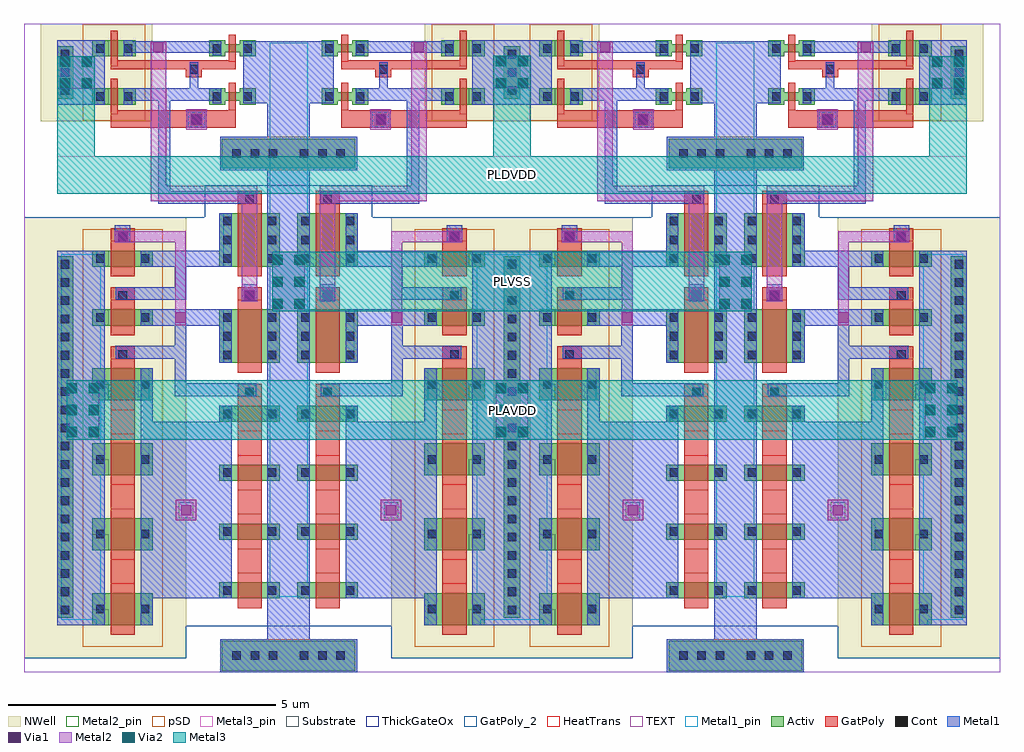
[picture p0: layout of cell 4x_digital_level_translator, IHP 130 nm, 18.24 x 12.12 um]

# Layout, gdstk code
from math import pi, radians
import gdstk
lib = gdstk.Library(unit=1e-6, precision=5e-09)
def R(c, l, rs):  # rectangles x0, y0, x1, y1
    for r in rs: c.add(gdstk.rectangle(r[:2], r[2:], *l))
def A(c, l, x, y, w, h, nx, ny, dx, dy):  # array of equal rectangles
    R(c, l, [(x+i*dx, y+j*dy, x+i*dx+w, y+j*dy+h) for i in range(nx) for j in range(ny)])
Activ = (1, 0)
GatPoly = (5, 0)
GatPoly_2 = (5, 2)
Cont = (6, 0)
Metal1 = (8, 0)
Metal1_pin = (8, 2)
Metal2 = (10, 0)
Metal2_pin = (10, 2)
pSD = (14, 0)
Via1 = (19, 0)
Via2 = (29, 0)
Metal3 = (30, 0)
Metal3_pin = (30, 2)
NWell = (31, 0)
Substrate = (40, 0)
ThickGateOx = (44, 0)
HeatTrans = (51, 0)
TEXT = (63, 0)

via_stack = lib.new_cell('via_stack')
R(via_stack, Activ, [(-0.49,-0.15,0.49,0.15)])
A(via_stack, Cont, -0.42, -0.08, 0.16, 0.16, 3, 1, 0.34, 0)
R(via_stack, Metal1, [(-0.47,-0.08,0.47,0.08)])

nmoshv_1 = lib.new_cell('nmosHV$1')
R(nmoshv_1, Activ, [(0,0,0.3,0.3), (0,0,1.13,1), (0.83,0,1.13,0.3)])
R(nmoshv_1, GatPoly, [(0.34,-0.18,0.79,1.18)])
R(nmoshv_1, GatPoly_2, [(0.34,-0.18,0.79,1.18)])
A(nmoshv_1, Cont, 0.07, 0.07, 0.16, 0.16, 1, 3, 0, 0.35)
A(nmoshv_1, Cont, 0.9, 0.07, 0.16, 0.16, 1, 3, 0, 0.35)
R(nmoshv_1, Metal1, [(0.07,0,0.23,1), (0.9,0,1.06,1)])
R(nmoshv_1, Metal1_pin, [(0.07,0,0.23,1), (0.9,0,1.06,1)])
R(nmoshv_1, ThickGateOx, [(-0.27,-0.52,1.4,1.52)])
R(nmoshv_1, HeatTrans, [(0.34,-0.18,0.79,1.18)])
nmoshv_1.add(gdstk.Label('nmosHV', (0.565,0.5), layer=63, texttype=0))
nmoshv_1.add(gdstk.Label('nmosHV', (0.565,0.5), layer=51, texttype=0))

via_stack_3 = lib.new_cell('via_stack$3')
R(via_stack_3, GatPoly, [(-0.15,-0.15,0.15,0.15)])
R(via_stack_3, Cont, [(-0.08,-0.08,0.08,0.08)])
R(via_stack_3, Metal1, [(-0.145,-0.105,0.145,0.105)])
R(via_stack_3, Metal2, [(-0.145,-0.1,0.145,0.1)])
R(via_stack_3, Via1, [(-0.095,-0.095,0.095,0.095)])

pmoshv_1 = lib.new_cell('pmosHV$1')
R(pmoshv_1, Activ, [(0,0,0.3,0.3), (0,0,1.13,0.3), (0.83,0,1.13,0.3)])
R(pmoshv_1, GatPoly, [(0.34,-0.18,0.79,0.48)])
R(pmoshv_1, GatPoly_2, [(0.34,-0.18,0.79,0.48)])
R(pmoshv_1, Cont, [(0.07,0.07,0.23,0.23), (0.9,0.07,1.06,0.23)])
R(pmoshv_1, Metal1, [(0.07,0,0.23,0.3), (0.9,0,1.06,0.3)])
R(pmoshv_1, Metal1_pin, [(0.07,0,0.23,0.3), (0.9,0,1.06,0.3)])
R(pmoshv_1, pSD, [(-0.18,-0.4,1.31,0.7)])
R(pmoshv_1, NWell, [(-0.62,-0.62,1.75,0.92)])
R(pmoshv_1, Substrate, [(0.83,0,1.13,0.3)])
R(pmoshv_1, ThickGateOx, [(-0.62,-0.62,1.75,0.92)])
R(pmoshv_1, HeatTrans, [(0.34,-0.18,0.79,0.48)])
pmoshv_1.add(gdstk.Label('pmosHV', (0.565,0.15), layer=63, texttype=0))
pmoshv_1.add(gdstk.Label('pmos', (0.565,0.15), layer=51, texttype=0))

via_stack_5 = lib.new_cell('via_stack$5')
R(via_stack_5, Activ, [(-3.38,-0.15,3.38,0.15)])
A(via_stack_5, Cont, -3.31, -0.08, 0.16, 0.16, 20, 1, 0.34, 0)
R(via_stack_5, Metal1, [(-3.36,-0.08,3.36,0.08)])

pmoshv = lib.new_cell('pmosHV')
R(pmoshv, Activ, [(0,0,0.3,0.3), (0,0,1.13,0.6), (0.83,0,1.13,0.3)])
R(pmoshv, GatPoly, [(0.34,-0.18,0.79,0.78)])
R(pmoshv, GatPoly_2, [(0.34,-0.18,0.79,0.78)])
R(pmoshv, Cont, [(0.07,0.22,0.23,0.38), (0.9,0.22,1.06,0.38)])
R(pmoshv, Metal1, [(0.07,0,0.23,0.6), (0.9,0,1.06,0.6)])
R(pmoshv, Metal1_pin, [(0.07,0,0.23,0.6), (0.9,0,1.06,0.6)])
R(pmoshv, pSD, [(-0.18,-0.4,1.31,1)])
R(pmoshv, NWell, [(-0.62,-0.62,1.75,1.22)])
R(pmoshv, Substrate, [(0.83,0,1.13,0.3)])
R(pmoshv, ThickGateOx, [(-0.62,-0.62,1.75,1.22)])
R(pmoshv, HeatTrans, [(0.34,-0.18,0.79,0.78)])
pmoshv.add(gdstk.Label('pmosHV', (0.565,0.3), layer=63, texttype=0))
pmoshv.add(gdstk.Label('pmos', (0.565,0.3), layer=51, texttype=0))

nmoshv = lib.new_cell('nmosHV')
R(nmoshv, Activ, [(0,0,0.3,0.3), (0,0,1.13,0.3), (0.83,0,1.13,0.3)])
R(nmoshv, GatPoly, [(0.34,-0.18,0.79,0.48)])
R(nmoshv, GatPoly_2, [(0.34,-0.18,0.79,0.48)])
R(nmoshv, Cont, [(0.07,0.07,0.23,0.23), (0.9,0.07,1.06,0.23)])
R(nmoshv, Metal1, [(0.07,0,0.23,0.3), (0.9,0,1.06,0.3)])
R(nmoshv, Metal1_pin, [(0.07,0,0.23,0.3), (0.9,0,1.06,0.3)])
R(nmoshv, ThickGateOx, [(-0.27,-0.52,1.4,0.82)])
R(nmoshv, HeatTrans, [(0.34,-0.18,0.79,0.48)])
nmoshv.add(gdstk.Label('nmosHV', (0.565,0.15), layer=63, texttype=0))
nmoshv.add(gdstk.Label('nmosHV', (0.565,0.15), layer=51, texttype=0))

via_stack_1 = lib.new_cell('via_stack$1')
R(via_stack_1, Metal1, [(-0.145,-0.105,0.145,0.105)])
R(via_stack_1, Metal2, [(-0.145,-0.1,0.145,0.1)])
R(via_stack_1, Via1, [(-0.095,-0.095,0.095,0.095)])

via_stack_4 = lib.new_cell('via_stack$4')
R(via_stack_4, GatPoly, [(-0.15,-0.15,0.15,0.15)])
R(via_stack_4, Cont, [(-0.08,-0.08,0.08,0.08)])
R(via_stack_4, Metal1, [(-0.13,-0.08,0.13,0.08)])

nmos = lib.new_cell('nmos')
R(nmos, Activ, [(0,0,0.3,0.3), (0.57,0,0.87,0.3), (0,0.075,0.87,0.225)])
R(nmos, GatPoly, [(0.37,-0.105,0.5,0.405)])
R(nmos, GatPoly_2, [(0.37,-0.105,0.5,0.405)])
R(nmos, Cont, [(0.07,0.07,0.23,0.23), (0.64,0.07,0.8,0.23)])
R(nmos, Metal1, [(0.07,0.02,0.23,0.28), (0.64,0.02,0.8,0.28)])
R(nmos, Metal1_pin, [(0.07,0.02,0.23,0.28), (0.64,0.02,0.8,0.28)])
R(nmos, HeatTrans, [(0.37,-0.105,0.5,0.405)])
nmos.add(gdstk.Label('nmos', (0.435,0.15), layer=63, texttype=0))
nmos.add(gdstk.Label('nmos', (0.435,0.15), layer=51, texttype=0))

pmos_1 = lib.new_cell('pmos$1')
R(pmos_1, Activ, [(0,0,0.3,0.3), (0,0,0.81,0.3), (0.51,0,0.81,0.3)])
R(pmos_1, GatPoly, [(0.34,-0.18,0.47,0.48), (0.34,-0.18,0.47,0.48)])
R(pmos_1, Cont, [(0.07,0.07,0.23,0.23), (0.58,0.07,0.74,0.23)])
R(pmos_1, Metal1, [(0.07,0,0.23,0.3), (0.07,0,0.23,0.3), (0.58,0,0.74,0.3), (0.58,0,0.74,0.3)])
R(pmos_1, pSD, [(-0.18,-0.3,0.99,0.6)])
R(pmos_1, NWell, [(-0.31,-0.31,1.12,0.61)])
R(pmos_1, Substrate, [(0.51,0,0.81,0.3)])
R(pmos_1, HeatTrans, [(0.34,-0.18,0.47,0.48)])
pmos_1.add(gdstk.Label('pmos', (0.405,0.15), layer=63, texttype=0))
pmos_1.add(gdstk.Label('pmos', (0.405,0.15), layer=51, texttype=0))

digital_level_translator = lib.new_cell('digital_level_translator')
R(digital_level_translator, Activ, [(4.03,0.825,4.59,2.065), (13.415,0.825,13.975,2.065)])
A(digital_level_translator, GatPoly, 5.01, 1.32, 0.235, 0.45, 3, 1, 1.8, 0)
A(digital_level_translator, GatPoly, 9.505, 1.32, 0.44, 0.45, 3, 1, 1.1, 0)
A(digital_level_translator, GatPoly, 5.71, 3.69, 0.235, 0.45, 3, 1, 1.1, 0)
A(digital_level_translator, GatPoly, 9.105, 3.69, 0.44, 0.45, 3, 1, 1.4, 0)
R(digital_level_translator, GatPoly, [(2.565,1.8,2.735,4.14), (3.5,1.8,3.825,4.14)])
A(digital_level_translator, Metal1, 9.025, 1.88, 1.4, 0.23, 3, 1, 1.1, 0)
R(digital_level_translator, Metal1, [(2.215,0.71,14.005,1.21), (2.215,0.79,3.375,1.66), (4,1.21,4.62,2.095), (13.385,1.21,14.005,2.095), (6.75,1.4,7.07,1.69), (5.015,1.415,5.245,3.025), (8.6,1.415,8.845,2.73), (5.425,1.88,6.425,2.11), (7.225,1.88,8.225,2.11), (6.125,2.04,6.425,3.42), (7.225,2.04,7.525,3.42), (2.215,2.07,2.425,3.9), (3.095,2.07,3.325,3.9), (9.325,2.11,12.625,3.35), (3.53,2.37,3.82,2.7), (2.865,2.505,3.095,2.665), (6.425,2.73,6.805,2.945), (6.805,2.73,7.045,4.045), (7.525,2.73,7.905,2.945), (7.905,2.73,8.145,4.045), (7.905,2.73,8.845,2.945), (3.325,3.025,5.245,3.255), (8.325,3.35,10.325,3.58), (10.325,3.35,13.125,3.58), (5.65,3.77,5.97,4.06), (2.195,4.25,3.395,5.14), (6.125,4.25,13.125,5.14)])
R(digital_level_translator, Metal1_pin, [(2.24,0.815,12.59,1.17), (2.195,4.25,3.395,5.14), (6.195,4.33,13.025,5.06)])
R(digital_level_translator, Metal2, [(3.485,2.345,3.865,2.725), (10.785,2.54,11.165,2.92)])
R(digital_level_translator, Metal2_pin, [(3.56,2.43,3.79,2.64), (10.83,2.6,11.125,2.865)])
R(digital_level_translator, pSD, [(4,0.795,4.62,2.095), (13.385,0.795,14.005,2.095)])
R(digital_level_translator, NWell, [(1.885,4.79,3.705,5.45), (5.505,5.1,13.745,5.76)])
R(digital_level_translator, ThickGateOx, [(5.505,2.38,10.945,2.73), (10.945,2.38,13.145,2.73), (5.505,5.1,13.745,5.76)])
R(digital_level_translator, TEXT, [(1.885,0.71,14.005,5.76)])
digital_level_translator.add(gdstk.FlexPath([(7.23,2.835),(5.865,2.835),(5.865,3.77)], 0.2, ends="flush", simple_path=True, layer=10, datatype=0))  # Metal2
digital_level_translator.add(gdstk.FlexPath([(2.42,3.25),(5.06,3.25),(5.06,2.13)], 0.29, ends="flush", simple_path=True, layer=10, datatype=0))  # Metal2
digital_level_translator.add(gdstk.FlexPath([(6.865,1.545),(5.06,1.545),(5.06,2.13)], 0.29, ends="flush", simple_path=True, layer=10, datatype=0))  # Metal2
digital_level_translator.add(gdstk.Reference(via_stack, (2.795,4.99), rotation=pi))
digital_level_translator.add(gdstk.Reference(nmoshv_1, (6.425,0.98), rotation=pi/2))
digital_level_translator.add(gdstk.Reference(via_stack_3, (6.965,1.545), rotation=pi/2))
digital_level_translator.add(gdstk.Reference(pmoshv_1, (6.425,3.35), rotation=pi/2))
digital_level_translator.add(gdstk.Reference(via_stack_3, (3.675,2.535), rotation=pi))
digital_level_translator.add(gdstk.Reference(nmoshv_1, (8.225,0.98), rotation=pi/2))
digital_level_translator.add(gdstk.Reference(pmoshv_1, (7.525,3.35), rotation=pi/2))
digital_level_translator.add(gdstk.Reference(via_stack_5, (9.61,4.99), rotation=pi))
digital_level_translator.add(gdstk.Reference(pmoshv, (8.925,3.35), rotation=pi/2))
digital_level_translator.add(gdstk.Reference(pmoshv, (10.325,3.35), rotation=pi/2))
digital_level_translator.add(gdstk.Reference(nmoshv, (9.325,0.98), rotation=pi/2))
digital_level_translator.add(gdstk.Reference(nmoshv, (10.425,0.98), rotation=pi/2))
digital_level_translator.add(gdstk.Reference(via_stack_1, (10.975,2.73), rotation=pi))
digital_level_translator.add(gdstk.Reference(via_stack_4, (8.065,3.915), rotation=pi/2))
digital_level_translator.add(gdstk.Reference(via_stack_4, (6.965,3.915), rotation=pi/2))
digital_level_translator.add(gdstk.Reference(via_stack_3, (5.865,3.915), rotation=pi/2))
digital_level_translator.add(gdstk.Reference(via_stack_1, (7.375,2.835), rotation=pi))
digital_level_translator.add(gdstk.Reference(via_stack_4, (2.735,2.585), rotation=pi))
digital_level_translator.add(gdstk.Reference(via_stack_4, (8.765,1.545), rotation=pi/2))
digital_level_translator.add(gdstk.Reference(via_stack_4, (5.165,1.545), rotation=pi/2))
digital_level_translator.add(gdstk.Reference(via_stack_1, (2.32,3.25), rotation=pi/2))
digital_level_translator.add(gdstk.Reference(nmos, (2.495,1.43), rotation=pi/2))
digital_level_translator.add(gdstk.Reference(pmos_1, (2.495,3.67), rotation=pi/2))
digital_level_translator.add(gdstk.Reference(pmos_1, (3.395,3.67), rotation=pi/2))
digital_level_translator.add(gdstk.Reference(nmos, (3.395,1.43), rotation=pi/2))
digital_level_translator.add(gdstk.Reference(nmoshv, (12.625,0.98), rotation=pi/2))
digital_level_translator.add(gdstk.Reference(nmoshv, (11.525,0.98), rotation=pi/2))
digital_level_translator.add(gdstk.Reference(pmoshv, (13.125,3.35), rotation=pi/2))
digital_level_translator.add(gdstk.Reference(pmoshv, (11.725,3.35), rotation=pi/2))
digital_level_translator.add(gdstk.Reference(via_stack, (4.31,1.445), rotation=pi/2))
digital_level_translator.add(gdstk.Reference(via_stack, (13.695,1.445), rotation=pi/2))
digital_level_translator.add(gdstk.Label('LOUT', (10.975,2.73), layer=10, texttype=25))
digital_level_translator.add(gdstk.Label('LIN', (3.67,2.525), layer=10, texttype=25))
digital_level_translator.add(gdstk.Label('PLAVDD', (9.29,4.695), layer=8, texttype=25))
digital_level_translator.add(gdstk.Label('PLVSS', (7.2,0.98), layer=8, texttype=25))
digital_level_translator.add(gdstk.Label('PLDVDD', (2.795,4.84), layer=8, texttype=25))

via_stack_7 = lib.new_cell('via_stack$7')
R(via_stack_7, Metal1, [(-0.35,-0.31,0.35,0.31)])
R(via_stack_7, Metal2, [(-0.35,-0.305,0.35,0.305)])
R(via_stack_7, Via1, [(-0.3,-0.3,-0.11,-0.11), (0.11,-0.3,0.3,-0.11), (-0.3,0.11,-0.11,0.3), (0.11,0.11,0.3,0.3)])
R(via_stack_7, Via2, [(-0.3,-0.3,-0.11,-0.11), (0.11,-0.3,0.3,-0.11), (-0.3,0.11,-0.11,0.3), (0.11,0.11,0.3,0.3)])
R(via_stack_7, Metal3, [(-0.35,-0.305,0.35,0.305)])

via_stack_6 = lib.new_cell('via_stack$6')
R(via_stack_6, Metal1, [(-0.31,-0.555,0.31,0.555)])
R(via_stack_6, Metal2, [(-0.305,-0.555,0.305,0.555)])
A(via_stack_6, Via1, -0.3, -0.505, 0.19, 0.19, 1, 3, 0, 0.41)
A(via_stack_6, Via1, 0.11, -0.505, 0.19, 0.19, 1, 3, 0, 0.41)
A(via_stack_6, Via2, -0.3, -0.505, 0.19, 0.19, 1, 3, 0, 0.41)
A(via_stack_6, Via2, 0.11, -0.505, 0.19, 0.19, 1, 3, 0, 0.41)
R(via_stack_6, Metal3, [(-0.305,-0.555,0.305,0.555)])

c_4x_digital_level_transla = lib.new_cell('4x_digital_level_translator')
R(c_4x_digital_level_transla, Activ, [(4.935,0.03,4.955,0.59), (13.285,0.03,13.305,0.59), (4.935,9.415,4.955,9.975), (13.285,9.415,13.305,9.975)])
R(c_4x_digital_level_transla, Metal3, [(0.795,4.345,17.445,5.455), (4.64,6.745,13.6,7.855)])
R(c_4x_digital_level_transla, Metal3_pin, [(0.795,4.345,17.445,5.455), (4.64,6.745,13.6,7.855), (0.62,8.945,17.62,9.645)])
c_4x_digital_level_transla.add(gdstk.FlexPath([(0.97,10.905),(0.97,9.295),(17.27,9.295),(17.27,10.905)], 0.7, ends="flush", simple_path=True, layer=30, datatype=0))  # Metal3
c_4x_digital_level_transla.add(gdstk.FlexPath([(9.12,10.91),(9.12,9.295)], 0.7, ends="flush", simple_path=True, layer=30, datatype=0))  # Metal3
c_4x_digital_level_transla.add(gdstk.Reference(digital_level_translator, (12.48,14.005), rotation=3*pi/2))
c_4x_digital_level_transla.add(gdstk.Reference(digital_level_translator, (14.11,14.005), rotation=3*pi/2, x_reflection=True))
c_4x_digital_level_transla.add(gdstk.Reference(digital_level_translator, (4.13,14.005), rotation=3*pi/2))
c_4x_digital_level_transla.add(gdstk.Reference(digital_level_translator, (5.76,14.005), rotation=3*pi/2, x_reflection=True))
c_4x_digital_level_transla.add(gdstk.Reference(via_stack_7, (17.27,11.21), rotation=pi))
c_4x_digital_level_transla.add(gdstk.Reference(via_stack_7, (9.12,11.215), rotation=pi))
c_4x_digital_level_transla.add(gdstk.Reference(via_stack_7, (0.97,11.21), rotation=pi))
c_4x_digital_level_transla.add(gdstk.Reference(via_stack_6, (4.945,7.3)))
c_4x_digital_level_transla.add(gdstk.Reference(via_stack_6, (13.295,7.3)))
c_4x_digital_level_transla.add(gdstk.Reference(via_stack_6, (1.1,4.9)))
c_4x_digital_level_transla.add(gdstk.Reference(via_stack_6, (9.12,4.9)))
c_4x_digital_level_transla.add(gdstk.Reference(via_stack_6, (17.14,4.9)))
c_4x_digital_level_transla.add(gdstk.Label('PLVSS', (9.12,7.3), layer=30, texttype=25))
c_4x_digital_level_transla.add(gdstk.Label('PLAVDD', (9.12,4.9), layer=30, texttype=25))
c_4x_digital_level_transla.add(gdstk.Label('PLDVDD', (9.12,9.295), layer=30, texttype=25))

lib.write_gds('4x_digital_level_translator.gds')
